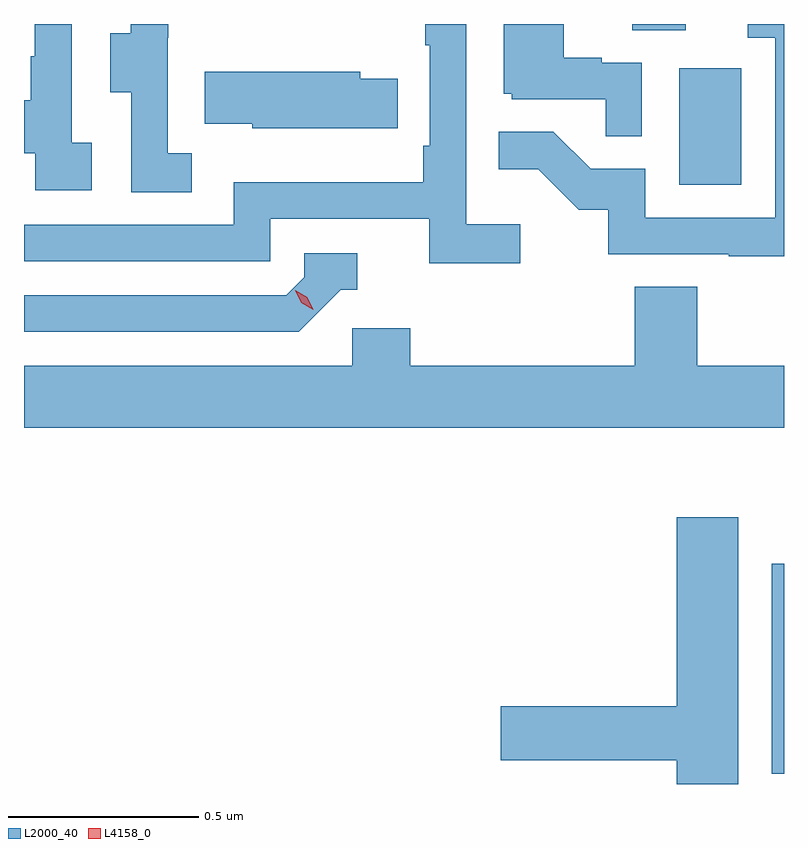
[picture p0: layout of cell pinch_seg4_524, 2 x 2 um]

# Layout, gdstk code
import gdstk
lib = gdstk.Library(unit=1e-6, precision=1e-09)
def R(c, l, rs):  # rectangles x0, y0, x1, y1
    for r in rs: c.add(gdstk.rectangle(r[:2], r[2:], *l))
def P(c, l, *ps):  # polygons
    for p in ps: c.add(gdstk.Polygon(p, *l))
L2000_40 = (2000, 40)
L4158_0 = (4158, 0)

pinch_seg4_524 = lib.new_cell('pinch_seg4_524')
R(pinch_seg4_524, L2000_40, [(986.34,758.614,986.372,759.166), (986.096,760.164,986.26,760.471), (985.973,760.57,986.113,760.587)])
P(pinch_seg4_524, L2000_40, [(984.55,760.274),(984.498,760.274),(984.498,760.587),(984.4,760.587),(984.4,760.502),(984.39,760.502),(984.39,760.387),(984.372,760.387),(984.372,760.247),(984.402,760.247),(984.402,760.149),(984.55,760.149)],
  [(984.814,760.247),(984.75,760.247),(984.75,760.551),(984.752,760.551),(984.752,760.587),(984.653,760.587),(984.653,760.563),(984.599,760.563),(984.599,760.408),(984.654,760.408),(984.654,760.144),(984.814,760.144)],
  [(985.998,760.485),(985.892,760.485),(985.892,760.498),(985.792,760.498),(985.792,760.587),(985.634,760.587),(985.634,760.404),(985.656,760.404),(985.656,760.389),(985.903,760.389),(985.903,760.291),(985.998,760.291)],
  [(986.372,760.587),(986.277,760.587),(986.277,760.551),(986.349,760.551),(986.349,760.077),(986.007,760.077),(986.007,760.206),(985.863,760.206),(985.765,760.304),(985.621,760.304),(985.621,760.205),(985.725,760.205),(985.832,760.098),(985.909,760.098),(985.909,759.981),(986.227,759.981),(986.227,759.976),(986.372,759.976)],
  [(985.678,760.06),(985.536,760.06),(985.536,760.587),(985.428,760.587),(985.428,760.531),(985.44,760.531),(985.44,760.267),(985.422,760.267),(985.422,760.171),(984.924,760.171),(984.924,760.059),(984.372,760.059),(984.372,759.963),(985.02,759.963),(985.02,760.074),(985.439,760.074),(985.439,759.958),(985.678,759.958)],
  [(985.355,760.443),(985.257,760.443),(985.257,760.462),(984.847,760.462),(984.847,760.325),(984.972,760.325),(984.972,760.313),(985.355,760.313)],
  [(985.206,759.888),(985.249,759.888),(985.249,759.984),(985.11,759.984),(985.11,759.921),(985.062,759.873),(984.372,759.873),(984.372,759.777),(985.095,759.777)],
  [(986.372,759.688),(986.144,759.688),(986.144,759.896),(985.979,759.896),(985.979,759.688),(985.388,759.688),(985.388,759.786),(985.236,759.786),(985.236,759.688),(984.372,759.688),(984.372,759.524),(986.372,759.524)],
  [(986.251,759.289),(986.09,759.289),(986.09,758.792),(985.626,758.792),(985.626,758.65),(986.09,758.65),(986.09,758.587),(986.251,758.587)])
P(pinch_seg4_524, L4158_0, [(985.133,759.835),(985.102,759.854),(985.086,759.887),(985.086,759.887),(985.086,759.887),(985.117,759.868),(985.133,759.835),(985.133,759.835)])

lib.write_gds('pinch_seg4_524.gds')
